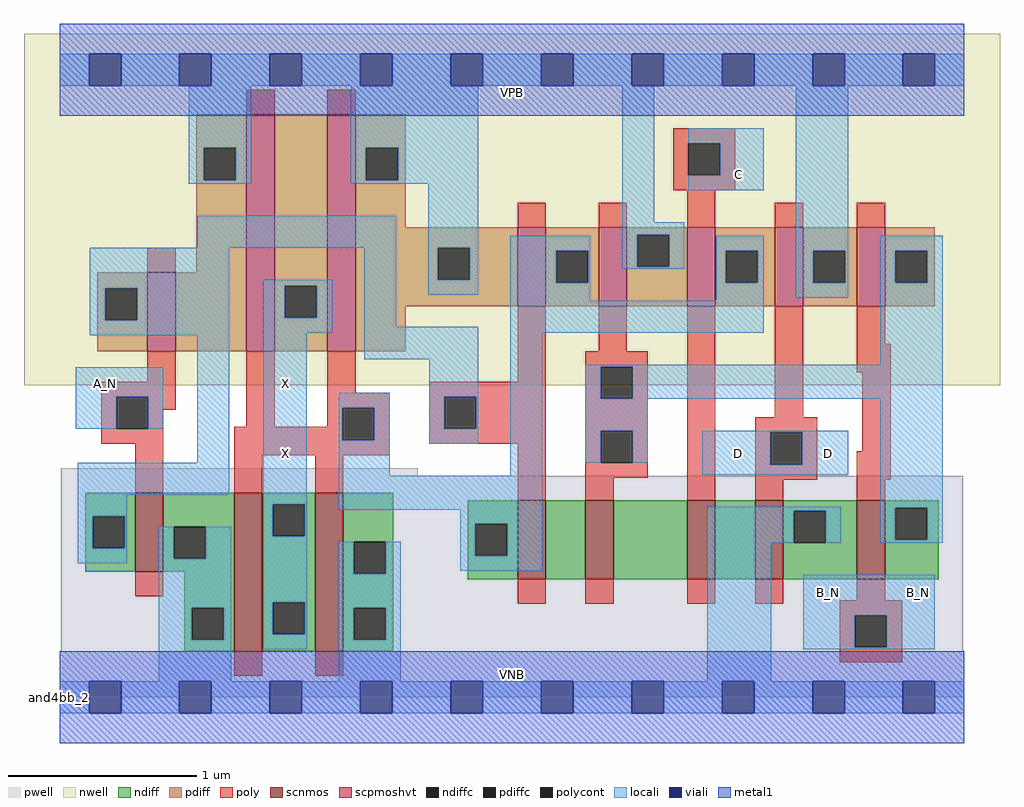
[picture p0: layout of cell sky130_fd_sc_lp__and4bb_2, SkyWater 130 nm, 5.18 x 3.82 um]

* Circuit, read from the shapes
.subckt sky130_fd_sc_lp__and4bb_2 A_N B_N C D VGND VNB VPB VPWR X
XM1 VGND A_N n1 VNB sky130_fd_pr__nfet_01v8 w=0.42 l=0.15
XM2 X n2 VGND VNB sky130_fd_pr__nfet_01v8 w=0.84 l=0.15 m=2
XM3 n3 n1 n2 VNB sky130_fd_pr__nfet_01v8 w=0.42 l=0.15
XM4 n4 n5 n3 VNB sky130_fd_pr__nfet_01v8 w=0.42 l=0.15
XM5 n6 C n4 VNB sky130_fd_pr__nfet_01v8 w=0.42 l=0.15
XM6 VGND D n6 VNB sky130_fd_pr__nfet_01v8 w=0.42 l=0.15
XM7 n5 B_N VGND VNB sky130_fd_pr__nfet_01v8 w=0.42 l=0.15
XM8 VPWR A_N n1 VPB sky130_fd_pr__pfet_01v8_hvt w=0.42 l=0.15
XM9 X n2 VPWR VPB sky130_fd_pr__pfet_01v8_hvt w=1.26 l=0.15 m=2
XM10 n2 n1 VPWR VPB sky130_fd_pr__pfet_01v8_hvt w=0.42 l=0.15
XM11 VPWR n5 n2 VPB sky130_fd_pr__pfet_01v8_hvt w=0.42 l=0.15
XM12 n2 C VPWR VPB sky130_fd_pr__pfet_01v8_hvt w=0.42 l=0.15
XM13 VPWR D n2 VPB sky130_fd_pr__pfet_01v8_hvt w=0.42 l=0.15
XM14 n5 B_N VPWR VPB sky130_fd_pr__pfet_01v8_hvt w=0.42 l=0.15
.ends

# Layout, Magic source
magic
tech sky130A
magscale 1 2
<< nwell >>
rect -38 331 998 704
<< pwell >>
rect 1 235 380 243
rect 1 49 959 235
rect 0 0 960 49
<< scnmos >>
rect 80 133 110 217
rect 185 49 215 217
rect 271 49 301 217
rect 486 125 516 209
rect 558 125 588 209
rect 666 125 696 209
rect 738 125 768 209
rect 846 125 876 209
<< scpmoshvt >>
rect 93 367 123 451
rect 198 367 228 619
rect 284 367 314 619
rect 486 415 516 499
rect 572 415 602 499
rect 666 415 696 499
rect 759 415 789 499
rect 846 415 876 499
<< ndiff >>
rect 27 192 80 217
rect 27 158 35 192
rect 69 158 80 192
rect 27 133 80 158
rect 110 181 185 217
rect 110 147 121 181
rect 155 147 185 181
rect 110 133 185 147
rect 132 95 185 133
rect 132 61 140 95
rect 174 61 185 95
rect 132 49 185 61
rect 215 205 271 217
rect 215 171 226 205
rect 260 171 271 205
rect 215 101 271 171
rect 215 67 226 101
rect 260 67 271 101
rect 215 49 271 67
rect 301 165 354 217
rect 301 131 312 165
rect 346 131 354 165
rect 301 95 354 131
rect 433 184 486 209
rect 433 150 441 184
rect 475 150 486 184
rect 433 125 486 150
rect 516 125 558 209
rect 588 125 666 209
rect 696 125 738 209
rect 768 198 846 209
rect 768 164 779 198
rect 813 164 846 198
rect 768 125 846 164
rect 876 201 933 209
rect 876 167 887 201
rect 921 167 933 201
rect 876 125 933 167
rect 301 61 312 95
rect 346 61 354 95
rect 301 49 354 61
<< pdiff >>
rect 145 583 198 619
rect 145 549 153 583
rect 187 549 198 583
rect 145 451 198 549
rect 40 434 93 451
rect 40 400 48 434
rect 82 400 93 434
rect 40 367 93 400
rect 123 367 198 451
rect 228 437 284 619
rect 228 403 239 437
rect 273 403 284 437
rect 228 367 284 403
rect 314 583 367 619
rect 314 549 325 583
rect 359 549 367 583
rect 314 499 367 549
rect 314 477 486 499
rect 314 443 401 477
rect 435 443 486 477
rect 314 415 486 443
rect 516 474 572 499
rect 516 440 527 474
rect 561 440 572 474
rect 516 415 572 440
rect 602 491 666 499
rect 602 457 613 491
rect 647 457 666 491
rect 602 415 666 457
rect 696 474 759 499
rect 696 440 707 474
rect 741 440 759 474
rect 696 415 759 440
rect 789 474 846 499
rect 789 440 800 474
rect 834 440 846 474
rect 789 415 846 440
rect 876 474 929 499
rect 876 440 887 474
rect 921 440 929 474
rect 876 415 929 440
rect 314 367 367 415
<< ndiffc >>
rect 35 158 69 192
rect 121 147 155 181
rect 140 61 174 95
rect 226 171 260 205
rect 226 67 260 101
rect 312 131 346 165
rect 441 150 475 184
rect 779 164 813 198
rect 887 167 921 201
rect 312 61 346 95
<< pdiffc >>
rect 153 549 187 583
rect 48 400 82 434
rect 239 403 273 437
rect 325 549 359 583
rect 401 443 435 477
rect 527 440 561 474
rect 613 457 647 491
rect 707 440 741 474
rect 800 440 834 474
rect 887 440 921 474
<< poly >>
rect 198 619 228 645
rect 284 619 314 645
rect 93 451 123 477
rect 651 588 717 604
rect 651 554 667 588
rect 701 554 717 588
rect 651 538 717 554
rect 486 499 516 525
rect 572 499 602 525
rect 666 499 696 538
rect 759 499 789 525
rect 846 499 876 525
rect 93 335 123 367
rect 44 319 123 335
rect 44 285 60 319
rect 94 305 123 319
rect 94 285 110 305
rect 198 287 228 367
rect 284 323 314 367
rect 486 335 516 415
rect 572 367 602 415
rect 284 307 350 323
rect 284 287 300 307
rect 44 269 110 285
rect 80 217 110 269
rect 185 273 300 287
rect 334 273 350 307
rect 185 257 350 273
rect 392 319 516 335
rect 392 285 408 319
rect 442 285 516 319
rect 392 269 516 285
rect 185 217 215 257
rect 271 217 301 257
rect 80 107 110 133
rect 486 209 516 269
rect 558 351 624 367
rect 558 317 574 351
rect 608 317 624 351
rect 558 283 624 317
rect 558 249 574 283
rect 608 249 624 283
rect 558 233 624 249
rect 558 209 588 233
rect 666 209 696 415
rect 759 297 789 415
rect 846 375 876 415
rect 846 345 882 375
rect 738 281 804 297
rect 738 247 754 281
rect 788 247 804 281
rect 852 261 882 345
rect 738 231 804 247
rect 846 231 882 261
rect 738 209 768 231
rect 846 209 876 231
rect 486 99 516 125
rect 558 99 588 125
rect 666 99 696 125
rect 738 99 768 125
rect 846 103 876 125
rect 828 87 894 103
rect 828 53 844 87
rect 878 53 894 87
rect 185 23 215 49
rect 271 23 301 49
rect 828 37 894 53
<< polycont >>
rect 667 554 701 588
rect 60 285 94 319
rect 300 273 334 307
rect 408 285 442 319
rect 574 317 608 351
rect 574 249 608 283
rect 754 247 788 281
rect 844 53 878 87
<< locali >>
rect 0 649 31 683
rect 65 649 127 683
rect 161 649 223 683
rect 257 649 319 683
rect 353 649 415 683
rect 449 649 511 683
rect 545 649 607 683
rect 641 649 703 683
rect 737 649 799 683
rect 833 649 895 683
rect 929 649 960 683
rect 137 583 203 649
rect 137 549 153 583
rect 187 549 203 583
rect 137 545 203 549
rect 309 583 444 649
rect 309 549 325 583
rect 359 549 444 583
rect 309 545 444 549
rect 146 477 357 511
rect 32 434 180 477
rect 32 400 48 434
rect 82 400 180 434
rect 32 384 180 400
rect 17 319 110 350
rect 17 285 60 319
rect 94 285 110 319
rect 146 249 180 384
rect 19 215 180 249
rect 216 437 289 443
rect 216 403 239 437
rect 273 403 289 437
rect 216 387 289 403
rect 323 393 357 477
rect 391 477 444 545
rect 597 504 631 649
rect 667 588 747 604
rect 701 554 747 588
rect 667 538 747 554
rect 597 491 663 504
rect 391 443 401 477
rect 435 443 444 477
rect 391 427 444 443
rect 478 474 563 490
rect 478 440 527 474
rect 561 440 563 474
rect 597 457 613 491
rect 647 457 663 491
rect 597 455 663 457
rect 697 474 747 490
rect 478 421 563 440
rect 697 440 707 474
rect 741 440 747 474
rect 697 421 747 440
rect 781 474 837 649
rect 781 440 800 474
rect 834 440 837 474
rect 781 424 837 440
rect 871 474 937 490
rect 871 440 887 474
rect 921 440 937 474
rect 19 192 71 215
rect 19 158 35 192
rect 69 158 71 192
rect 216 205 262 387
rect 323 359 444 393
rect 19 142 71 158
rect 105 147 121 181
rect 155 147 182 181
rect 105 95 182 147
rect 105 61 140 95
rect 174 61 182 95
rect 105 17 182 61
rect 216 171 226 205
rect 260 171 262 205
rect 296 307 350 323
rect 296 273 300 307
rect 334 273 350 307
rect 296 235 350 273
rect 392 319 444 359
rect 392 285 408 319
rect 442 285 444 319
rect 392 269 444 285
rect 478 387 747 421
rect 478 235 512 387
rect 871 353 937 440
rect 558 351 937 353
rect 558 317 574 351
rect 608 317 937 351
rect 558 283 624 317
rect 558 249 574 283
rect 608 249 624 283
rect 682 281 837 283
rect 682 247 754 281
rect 788 247 837 281
rect 682 236 837 247
rect 296 199 512 235
rect 216 101 262 171
rect 425 184 512 199
rect 216 67 226 101
rect 260 67 262 101
rect 216 51 262 67
rect 296 131 312 165
rect 346 131 362 165
rect 425 150 441 184
rect 475 150 512 184
rect 425 134 512 150
rect 687 198 829 202
rect 687 164 779 198
rect 813 164 829 198
rect 871 201 937 317
rect 871 167 887 201
rect 921 167 937 201
rect 871 164 937 167
rect 296 95 362 131
rect 296 61 312 95
rect 346 61 362 95
rect 296 17 362 61
rect 687 17 755 164
rect 789 87 929 130
rect 789 53 844 87
rect 878 53 929 87
rect 789 51 929 53
rect 0 -17 31 17
rect 65 -17 127 17
rect 161 -17 223 17
rect 257 -17 319 17
rect 353 -17 415 17
rect 449 -17 511 17
rect 545 -17 607 17
rect 641 -17 703 17
rect 737 -17 799 17
rect 833 -17 895 17
rect 929 -17 960 17
<< viali >>
rect 31 649 65 683
rect 127 649 161 683
rect 223 649 257 683
rect 319 649 353 683
rect 415 649 449 683
rect 511 649 545 683
rect 607 649 641 683
rect 703 649 737 683
rect 799 649 833 683
rect 895 649 929 683
rect 31 -17 65 17
rect 127 -17 161 17
rect 223 -17 257 17
rect 319 -17 353 17
rect 415 -17 449 17
rect 511 -17 545 17
rect 607 -17 641 17
rect 703 -17 737 17
rect 799 -17 833 17
rect 895 -17 929 17
<< metal1 >>
rect 0 683 960 715
rect 0 649 31 683
rect 65 649 127 683
rect 161 649 223 683
rect 257 649 319 683
rect 353 649 415 683
rect 449 649 511 683
rect 545 649 607 683
rect 641 649 703 683
rect 737 649 799 683
rect 833 649 895 683
rect 929 649 960 683
rect 0 617 960 649
rect 0 17 960 49
rect 0 -17 31 17
rect 65 -17 127 17
rect 161 -17 223 17
rect 257 -17 319 17
rect 353 -17 415 17
rect 449 -17 511 17
rect 545 -17 607 17
rect 641 -17 703 17
rect 737 -17 799 17
rect 833 -17 895 17
rect 929 -17 960 17
rect 0 -49 960 -17
<< labels >>
flabel pwell s 0 0 960 49 0 FreeSans 200 0 0 0 VNB
port 6 nsew ground bidirectional
flabel nwell s 0 617 960 666 0 FreeSans 200 0 0 0 VPB
port 7 nsew power bidirectional
rlabel comment s 0 0 0 0 4 and4bb_2
flabel metal1 s 0 617 960 666 0 FreeSans 340 0 0 0 VPWR
port 8 nsew power bidirectional
flabel metal1 s 0 0 960 49 0 FreeSans 340 0 0 0 VGND
port 5 nsew ground bidirectional
flabel locali s 703 242 737 276 0 FreeSans 340 0 0 0 D
port 4 nsew signal input
flabel locali s 799 242 833 276 0 FreeSans 340 0 0 0 D
port 4 nsew signal input
flabel locali s 31 316 65 350 0 FreeSans 340 0 0 0 A_N
port 1 nsew signal input
flabel locali s 703 538 737 572 0 FreeSans 340 0 0 0 C
port 3 nsew signal input
flabel locali s 223 242 257 276 0 FreeSans 340 0 0 0 X
port 9 nsew signal output
flabel locali s 223 316 257 350 0 FreeSans 340 0 0 0 X
port 9 nsew signal output
flabel locali s 799 94 833 128 0 FreeSans 340 0 0 0 B_N
port 2 nsew signal input
flabel locali s 895 94 929 128 0 FreeSans 340 0 0 0 B_N
port 2 nsew signal input
<< properties >>
string LEFsite unit
string LEFclass CORE
string FIXED_BBOX 0 0 960 666
string GDS_FILE $PDKPATH/libs.ref/sky130_fd_sc_lp/gds/sky130_fd_sc_lp.gds
string LEFsymmetry X Y R90
string GDS_END 5251790
string GDS_START 5243786
<< end >>
